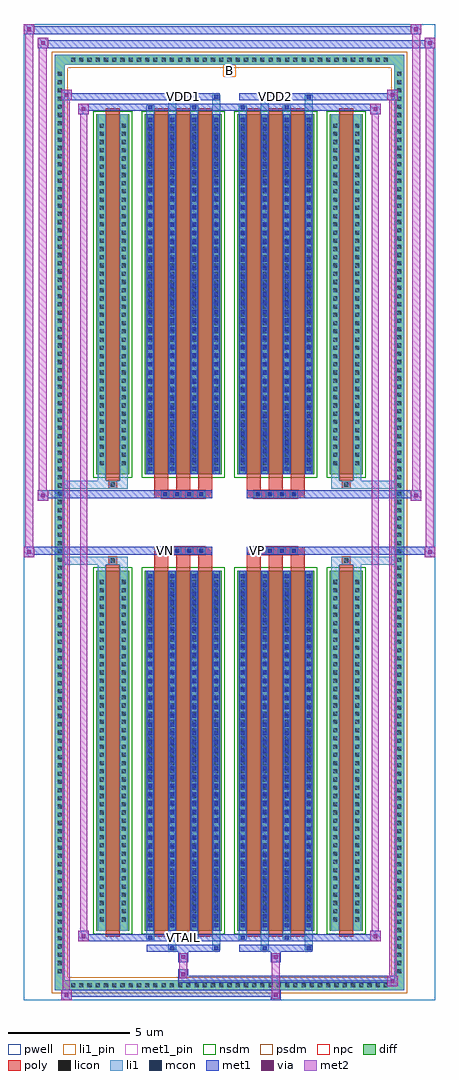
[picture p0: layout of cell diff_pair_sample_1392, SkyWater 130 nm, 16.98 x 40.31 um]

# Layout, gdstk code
import gdstk
lib = gdstk.Library(unit=1e-6, precision=5e-09)
def R(c, l, rs):  # rectangles x0, y0, x1, y1
    for r in rs: c.add(gdstk.rectangle(r[:2], r[2:], *l))
def A(c, l, x, y, w, h, nx, ny, dx, dy):  # array of equal rectangles
    R(c, l, [(x+i*dx, y+j*dy, x+i*dx+w, y+j*dy+h) for i in range(nx) for j in range(ny)])
def P(c, l, *ps):  # polygons
    for p in ps: c.add(gdstk.Polygon(p, *l))
pwell = (64, 44)
diff = (65, 20)
poly = (66, 20)
licon = (66, 44)
li1_pin = (67, 16)
li1 = (67, 20)
mcon = (67, 44)
met1_pin = (68, 16)
met1 = (68, 20)
via = (68, 44)
met2 = (69, 20)
nsdm = (93, 44)
psdm = (94, 20)
npc = (95, 20)

diff_pair_sample_1392 = lib.new_cell('diff_pair_sample_1392')
R(diff_pair_sample_1392, pwell, [(-8.49,-19.72,8.49,20.59), (-5.81,-17.91,-0.01,-0.805), (0.01,-17.91,5.81,-0.805), (-5.81,0.805,-0.01,17.91), (0.01,0.805,5.81,17.91)])
A(diff_pair_sample_1392, diff, -6.665, -19.32, 0.41, 0.41, 39, 2, 0.34, 38.23)
A(diff_pair_sample_1392, diff, -7.22, -18.735, 0.41, 0.41, 1, 110, 0, 0.34)
A(diff_pair_sample_1392, diff, 6.81, -18.735, 0.41, 0.41, 1, 110, 0, 0.34)
R(diff_pair_sample_1392, diff, [(-6.665,-19.32,6.665,-18.91), (-7.22,-18.735,-6.81,18.735), (6.81,-18.735,7.22,18.735), (-5.5,-16.865,-4.14,-1.985), (-3.5,-16.865,-0.32,-1.985), (0.32,-16.865,3.5,-1.985), (4.14,-16.865,5.5,-1.985), (-5.5,1.985,-4.14,16.865), (-3.5,1.985,-0.32,16.865), (0.32,1.985,3.5,16.865), (4.14,1.985,5.5,16.865), (-6.665,18.91,6.665,19.32)])
P(diff_pair_sample_1392, diff, [(7.22,19.32),(-7.22,19.32),(-7.22,-18.91),(-6.81,-18.91),(-6.81,18.91),(6.81,18.91),(6.81,-18.91),(-6.81,-18.91),(-7.22,-18.91),(-7.22,-19.32),(7.22,-19.32)])
A(diff_pair_sample_1392, poly, -3.11, -17.115, 0.58, 15.38, 3, 2, 0.91, 18.85)
A(diff_pair_sample_1392, poly, 0.71, -17.115, 0.58, 15.38, 3, 2, 0.91, 18.85)
A(diff_pair_sample_1392, poly, -3.11, -1.735, 0.58, 0.4, 3, 2, 0.91, 3.07)
A(diff_pair_sample_1392, poly, 0.71, -1.735, 0.58, 0.4, 3, 2, 0.91, 3.07)
A(diff_pair_sample_1392, poly, -2.825, -1.335, 0.33, 0.33, 4, 2, 0.5, 2.34)
A(diff_pair_sample_1392, poly, 0.995, -1.335, 0.33, 0.33, 4, 2, 0.5, 2.34)
R(diff_pair_sample_1392, poly, [(-5.11,-17.115,-4.53,-1.735), (4.53,-17.115,5.11,-1.735), (-4.985,-1.735,-4.655,-1.405), (-4.985,-1.735,-4.655,-1.405), (4.655,-1.735,4.985,-1.405), (4.655,-1.735,4.985,-1.405), (-3.11,-1.335,-0.71,-1.005), (0.71,-1.335,3.11,-1.005), (-3.11,1.005,-0.71,1.335), (0.71,1.005,3.11,1.335), (-4.985,1.405,-4.655,1.735), (-4.985,1.405,-4.655,1.735), (4.655,1.405,4.985,1.735), (4.655,1.405,4.985,1.735), (-5.11,1.735,-4.53,17.115), (4.53,1.735,5.11,17.115)])
A(diff_pair_sample_1392, licon, -6.545, -19.2, 0.17, 0.17, 39, 2, 0.34, 38.23)
A(diff_pair_sample_1392, licon, -7.1, -18.615, 0.17, 0.17, 1, 110, 0, 0.34)
A(diff_pair_sample_1392, licon, 6.93, -18.615, 0.17, 0.17, 1, 110, 0, 0.34)
A(diff_pair_sample_1392, licon, -5.36, -16.48, 0.17, 0.17, 1, 42, 0, 0.34)
A(diff_pair_sample_1392, licon, -4.45, -16.48, 0.17, 0.17, 1, 42, 0, 0.34)
A(diff_pair_sample_1392, licon, -3.36, -16.48, 0.17, 0.17, 4, 42, 0.91, 0.34)
A(diff_pair_sample_1392, licon, 0.46, -16.48, 0.17, 0.17, 4, 42, 0.91, 0.34)
A(diff_pair_sample_1392, licon, 4.28, -16.48, 0.17, 0.17, 1, 42, 0, 0.34)
A(diff_pair_sample_1392, licon, 5.19, -16.48, 0.17, 0.17, 1, 42, 0, 0.34)
A(diff_pair_sample_1392, licon, -2.745, -1.255, 0.17, 0.17, 4, 2, 0.5, 2.34)
A(diff_pair_sample_1392, licon, 1.075, -1.255, 0.17, 0.17, 4, 2, 0.5, 2.34)
A(diff_pair_sample_1392, licon, -5.36, 2.37, 0.17, 0.17, 1, 42, 0, 0.34)
A(diff_pair_sample_1392, licon, -4.45, 2.37, 0.17, 0.17, 1, 42, 0, 0.34)
A(diff_pair_sample_1392, licon, -3.36, 2.37, 0.17, 0.17, 4, 42, 0.91, 0.34)
A(diff_pair_sample_1392, licon, 0.46, 2.37, 0.17, 0.17, 4, 42, 0.91, 0.34)
A(diff_pair_sample_1392, licon, 4.28, 2.37, 0.17, 0.17, 1, 42, 0, 0.34)
A(diff_pair_sample_1392, licon, 5.19, 2.37, 0.17, 0.17, 1, 42, 0, 0.34)
R(diff_pair_sample_1392, licon, [(-4.905,-1.655,-4.735,-1.485), (4.735,-1.655,4.905,-1.485), (-4.905,1.485,-4.735,1.655), (4.735,1.485,4.905,1.655)])
R(diff_pair_sample_1392, li1_pin, [(-0.25,18.41,0.25,18.91)])
A(diff_pair_sample_1392, li1, -6.625, -19.28, 0.33, 0.33, 39, 2, 0.34, 38.23)
A(diff_pair_sample_1392, li1, -7.18, -18.695, 0.33, 0.33, 1, 110, 0, 0.34)
A(diff_pair_sample_1392, li1, 6.85, -18.695, 0.33, 0.33, 1, 110, 0, 0.34)
A(diff_pair_sample_1392, li1, -3.44, -16.865, 0.33, 14.88, 4, 2, 0.91, 18.85)
A(diff_pair_sample_1392, li1, 0.38, -16.865, 0.33, 14.88, 4, 2, 0.91, 18.85)
A(diff_pair_sample_1392, li1, -3.36, -16.71, 0.17, 0.17, 4, 41, 0.91, 0.36)
A(diff_pair_sample_1392, li1, -3.36, -16.71, 0.17, 14.57, 4, 2, 0.91, 18.85)
A(diff_pair_sample_1392, li1, 0.46, -16.71, 0.17, 0.17, 4, 41, 0.91, 0.36)
A(diff_pair_sample_1392, li1, 0.46, -16.71, 0.17, 14.57, 4, 2, 0.91, 18.85)
A(diff_pair_sample_1392, li1, -5.44, -16.56, 0.33, 0.33, 1, 42, 0, 0.34)
A(diff_pair_sample_1392, li1, -4.53, -16.56, 0.33, 0.33, 1, 42, 0, 0.34)
A(diff_pair_sample_1392, li1, -3.44, -16.56, 0.33, 0.33, 4, 42, 0.91, 0.34)
A(diff_pair_sample_1392, li1, 0.38, -16.56, 0.33, 0.33, 4, 42, 0.91, 0.34)
A(diff_pair_sample_1392, li1, 4.2, -16.56, 0.33, 0.33, 1, 42, 0, 0.34)
A(diff_pair_sample_1392, li1, 5.11, -16.56, 0.33, 0.33, 1, 42, 0, 0.34)
A(diff_pair_sample_1392, li1, -2.825, -1.335, 0.33, 0.33, 4, 2, 0.5, 2.34)
A(diff_pair_sample_1392, li1, 0.995, -1.335, 0.33, 0.33, 4, 2, 0.5, 2.34)
A(diff_pair_sample_1392, li1, -3.36, 2.14, 0.17, 0.17, 4, 41, 0.91, 0.36)
A(diff_pair_sample_1392, li1, 0.46, 2.14, 0.17, 0.17, 4, 41, 0.91, 0.36)
A(diff_pair_sample_1392, li1, -5.44, 2.29, 0.33, 0.33, 1, 42, 0, 0.34)
A(diff_pair_sample_1392, li1, -4.53, 2.29, 0.33, 0.33, 1, 42, 0, 0.34)
A(diff_pair_sample_1392, li1, -3.44, 2.29, 0.33, 0.33, 4, 42, 0.91, 0.34)
A(diff_pair_sample_1392, li1, 0.38, 2.29, 0.33, 0.33, 4, 42, 0.91, 0.34)
A(diff_pair_sample_1392, li1, 4.2, 2.29, 0.33, 0.33, 1, 42, 0, 0.34)
A(diff_pair_sample_1392, li1, 5.11, 2.29, 0.33, 0.33, 1, 42, 0, 0.34)
R(diff_pair_sample_1392, li1, [(-7.22,-19.32,-6.81,-18.91), (-7.22,-19.32,-6.81,-18.91), (-6.81,-19.32,6.81,-18.91), (6.81,-19.32,7.22,-18.91), (6.81,-19.32,7.22,-18.91), (-7.22,-18.91,-6.81,18.91), (6.81,-18.91,7.22,18.91), (-2.53,-17.67,-2.2,-16.865), (-2.45,-17.67,-2.28,-17.5), (-0.71,-17.67,-0.38,-16.865), (-0.63,-17.67,-0.46,-17.5), (1.29,-17.67,1.62,-16.865), (1.37,-17.67,1.54,-17.5), (3.11,-17.67,3.44,-16.865), (3.19,-17.67,3.36,-17.5), (-3.44,-17.24,-3.11,-16.865), (-3.36,-17.24,-3.19,-17.07), (-1.62,-17.24,-1.29,-16.865), (-1.54,-17.24,-1.37,-17.07), (0.38,-17.24,0.71,-16.865), (0.46,-17.24,0.63,-17.07), (2.2,-17.24,2.53,-16.865), (2.28,-17.24,2.45,-17.07), (-5.44,-16.865,-5.11,-1.985), (-4.53,-16.865,-4.2,-1.985), (4.2,-16.865,4.53,-1.985), (5.11,-16.865,5.44,-1.985), (-5.44,-1.985,-5.11,-1.405), (-4.53,-1.985,-4.2,-1.405), (4.2,-1.985,4.53,-1.405), (5.11,-1.985,5.44,-1.405), (-7.22,-1.735,-4.985,-1.405), (-5.44,-1.735,-4.985,-1.405), (-4.985,-1.735,-4.655,-1.405), (-4.655,-1.735,-4.2,-1.405), (4.2,-1.735,4.655,-1.405), (4.655,-1.735,4.985,-1.405), (4.655,-1.735,7.22,-1.405), (4.985,-1.735,5.44,-1.405), (-7.22,1.405,-4.985,1.735), (-5.44,1.405,-4.985,1.735), (-5.44,1.405,-5.11,1.985), (-4.985,1.405,-4.655,1.735), (-4.655,1.405,-4.2,1.735), (-4.53,1.405,-4.2,1.985), (4.2,1.405,4.655,1.735), (4.2,1.405,4.53,1.985), (4.655,1.405,4.985,1.735), (4.655,1.405,7.22,1.735), (4.985,1.405,5.44,1.735), (5.11,1.405,5.44,1.985), (-5.44,1.985,-5.11,16.865), (-4.53,1.985,-4.2,16.865), (4.2,1.985,4.53,16.865), (5.11,1.985,5.44,16.865), (-3.44,16.865,-3.11,17.24), (-2.53,16.865,-2.2,17.67), (-1.62,16.865,-1.29,17.24), (-0.71,16.865,-0.38,17.67), (0.38,16.865,0.71,17.24), (1.29,16.865,1.62,17.67), (2.2,16.865,2.53,17.24), (3.11,16.865,3.44,17.67), (-3.36,17.07,-3.19,17.24), (-1.54,17.07,-1.37,17.24), (0.46,17.07,0.63,17.24), (2.28,17.07,2.45,17.24), (-2.45,17.5,-2.28,17.67), (-0.63,17.5,-0.46,17.67), (1.37,17.5,1.54,17.67), (3.19,17.5,3.36,17.67), (-7.22,18.91,-6.81,19.32), (-7.22,18.91,-6.81,19.32), (-6.81,18.91,6.81,19.32), (6.81,18.91,7.22,19.32), (6.81,18.91,7.22,19.32)])
A(diff_pair_sample_1392, mcon, -3.36, -16.71, 0.17, 0.17, 4, 41, 0.91, 0.36)
A(diff_pair_sample_1392, mcon, 0.46, -16.71, 0.17, 0.17, 4, 41, 0.91, 0.36)
A(diff_pair_sample_1392, mcon, -2.745, -1.255, 0.17, 0.17, 4, 2, 0.5, 2.34)
A(diff_pair_sample_1392, mcon, 1.075, -1.255, 0.17, 0.17, 4, 2, 0.5, 2.34)
A(diff_pair_sample_1392, mcon, -3.36, 2.14, 0.17, 0.17, 4, 41, 0.91, 0.36)
A(diff_pair_sample_1392, mcon, 0.46, 2.14, 0.17, 0.17, 4, 41, 0.91, 0.36)
R(diff_pair_sample_1392, mcon, [(-2.45,-17.67,-2.28,-17.5), (-0.63,-17.67,-0.46,-17.5), (1.37,-17.67,1.54,-17.5), (3.19,-17.67,3.36,-17.5), (-3.36,-17.24,-3.19,-17.07), (-1.54,-17.24,-1.37,-17.07), (0.46,-17.24,0.63,-17.07), (2.28,-17.24,2.45,-17.07), (-3.36,17.07,-3.19,17.24), (-1.54,17.07,-1.37,17.24), (0.46,17.07,0.63,17.24), (2.28,17.07,2.45,17.24), (-2.45,17.5,-2.28,17.67), (-0.63,17.5,-0.46,17.67), (1.37,17.5,1.54,17.67), (3.19,17.5,3.36,17.67)])
R(diff_pair_sample_1392, met1_pin, [(-2.045,-17.28,-1.775,-17.01), (-2.795,-1.295,-2.525,-1.025), (1.025,-1.295,1.295,-1.025), (-2.045,17.46,-1.775,17.73), (1.775,17.46,2.045,17.73)])
A(diff_pair_sample_1392, met1, -3.42, -16.865, 0.29, 14.88, 4, 2, 0.91, 18.85)
A(diff_pair_sample_1392, met1, 0.4, -16.865, 0.29, 14.88, 4, 2, 0.91, 18.85)
A(diff_pair_sample_1392, met1, -3.42, -16.77, 0.29, 0.29, 4, 41, 0.91, 0.36)
A(diff_pair_sample_1392, met1, 0.4, -16.77, 0.29, 0.29, 4, 41, 0.91, 0.36)
A(diff_pair_sample_1392, met1, -2.805, -1.315, 0.29, 0.29, 4, 2, 0.5, 2.34)
A(diff_pair_sample_1392, met1, 1.015, -1.315, 0.29, 0.29, 4, 2, 0.5, 2.34)
A(diff_pair_sample_1392, met1, -3.42, 2.08, 0.29, 0.29, 4, 41, 0.91, 0.36)
A(diff_pair_sample_1392, met1, 0.4, 2.08, 0.29, 0.29, 4, 41, 0.91, 0.36)
R(diff_pair_sample_1392, met1, [(-6.95,-19.72,-6.52,-19.29), (1.695,-19.72,2.125,-19.29), (-6.95,-19.58,2.125,-19.29), (6.52,-19.15,6.95,-18.72), (-2.125,-19.01,6.95,-18.72), (-2.125,-18.87,-1.695,-18.44), (-2.125,-18.16,-1.695,-17.73), (1.695,-18.16,2.125,-17.73), (-3.42,-17.73,-0.4,-17.44), (-2.51,-17.73,-2.22,-17.44), (-0.69,-17.73,-0.4,-17.44), (0.4,-17.73,3.42,-17.44), (1.31,-17.73,1.6,-17.44), (3.13,-17.73,3.42,-17.44), (-6.24,-17.3,-5.81,-16.87), (-6.24,-17.3,-3.42,-17.01), (-3.42,-17.3,-3.13,-17.01), (-3.42,-17.3,-0.4,-17.01), (-1.6,-17.3,-1.31,-17.01), (-0.4,-17.3,0.4,-17.01), (0.4,-17.3,0.69,-17.01), (0.4,-17.3,3.42,-17.01), (2.22,-17.3,2.51,-17.01), (3.42,-17.3,6.24,-17.01), (5.81,-17.3,6.24,-16.87), (-8.49,-1.435,-8.06,-1.005), (8.06,-1.435,8.49,-1.005), (-8.49,-1.335,-0.71,-1.005), (-3.11,-1.335,-0.71,-1.005), (0.71,-1.335,3.11,-1.005), (0.71,-1.335,8.49,-1.005), (-7.92,0.905,-7.49,1.335), (7.49,0.905,7.92,1.335), (-7.92,1.005,-3.11,1.335), (-3.11,1.005,-0.71,1.335), (0.71,1.005,3.11,1.335), (3.11,1.005,7.92,1.335), (-6.24,16.87,-5.81,17.3), (5.81,16.87,6.24,17.3), (-6.24,17.01,-3.42,17.3), (-3.42,17.01,-3.13,17.3), (-3.42,17.01,-0.4,17.3), (-1.6,17.01,-1.31,17.3), (-0.4,17.01,0.4,17.3), (0.4,17.01,0.69,17.3), (0.4,17.01,3.42,17.3), (2.22,17.01,2.51,17.3), (3.42,17.01,6.24,17.3), (-6.95,17.44,-6.52,17.87), (-6.95,17.44,-3.42,17.73), (-3.42,17.44,-0.4,17.73), (-2.51,17.44,-2.22,17.73), (-0.69,17.44,-0.4,17.73), (0.4,17.44,3.42,17.73), (1.31,17.44,1.6,17.73), (3.13,17.44,3.42,17.73), (3.42,17.44,6.95,17.73), (6.52,17.44,6.95,17.87), (-7.92,19.59,-7.49,20.02), (-7.92,19.59,-5.81,19.92), (-5.81,19.59,5.81,19.92), (5.81,19.59,8.49,19.92), (8.06,19.59,8.49,20.02), (-8.49,20.16,-8.06,20.59), (-8.49,20.16,-5.81,20.49), (-5.81,20.16,5.81,20.49), (5.81,20.16,7.92,20.49), (7.49,20.16,7.92,20.59)])
R(diff_pair_sample_1392, via, [(-6.81,-19.58,-6.66,-19.43), (1.835,-19.58,1.985,-19.43), (6.66,-19.01,6.81,-18.86), (-1.985,-18.73,-1.835,-18.58), (-1.985,-18.02,-1.835,-17.87), (1.835,-18.02,1.985,-17.87), (-6.1,-17.16,-5.95,-17.01), (5.95,-17.16,6.1,-17.01), (-8.35,-1.295,-8.2,-1.145), (8.2,-1.295,8.35,-1.145), (-7.78,1.045,-7.63,1.195), (7.63,1.045,7.78,1.195), (-6.1,17.01,-5.95,17.16), (5.95,17.01,6.1,17.16), (-6.81,17.58,-6.66,17.73), (6.66,17.58,6.81,17.73), (-7.78,19.73,-7.63,19.88), (8.2,19.73,8.35,19.88), (-8.35,20.3,-8.2,20.45), (7.63,20.3,7.78,20.45)])
R(diff_pair_sample_1392, met2, [(-6.95,-19.72,-6.52,-19.29), (-6.88,-19.72,-6.59,17.87), (-6.59,-19.72,-6.52,-19.29), (-6.9,-19.67,-6.57,-19.34), (1.745,-19.67,2.075,-19.34), (1.745,-19.34,2.075,-18.11), (6.52,-19.15,6.95,-18.72), (6.59,-19.15,6.88,17.87), (6.88,-19.15,6.95,-18.72), (6.57,-19.1,6.9,-18.77), (-2.075,-18.82,-1.745,-18.49), (-2.075,-18.49,-1.745,-18.11), (-2.075,-18.11,-1.745,-17.78), (1.745,-18.11,2.075,-17.78), (-6.24,-17.3,-5.81,-16.87), (-6.17,-17.3,-5.88,17.3), (-5.88,-17.3,-5.81,-16.87), (5.81,-17.3,6.24,-16.87), (5.88,-17.3,6.17,17.3), (6.17,-17.3,6.24,-16.87), (-6.19,-17.25,-5.86,-16.92), (5.86,-17.25,6.19,-16.92), (-8.49,-1.435,-8.06,-1.005), (-8.44,-1.435,-8.11,20.59), (-8.11,-1.435,-8.06,-1.005), (8.06,-1.435,8.49,-1.005), (8.11,-1.435,8.44,20.02), (8.44,-1.435,8.49,-1.005), (-8.44,-1.385,-8.11,-1.055), (8.11,-1.385,8.44,-1.055), (-7.92,0.905,-7.49,1.335), (-7.87,0.905,-7.54,20.02), (-7.54,0.905,-7.49,1.335), (7.49,0.905,7.92,1.335), (7.54,0.905,7.87,20.59), (7.87,0.905,7.92,1.335), (-7.87,0.955,-7.54,1.285), (7.54,0.955,7.87,1.285), (-6.24,16.87,-5.81,17.3), (-5.88,16.87,-5.81,17.3), (5.81,16.87,6.24,17.3), (6.17,16.87,6.24,17.3), (-6.19,16.92,-5.86,17.25), (5.86,16.92,6.19,17.25), (-6.95,17.44,-6.52,17.87), (-6.59,17.44,-6.52,17.87), (6.52,17.44,6.95,17.87), (6.88,17.44,6.95,17.87), (-6.9,17.49,-6.57,17.82), (6.57,17.49,6.9,17.82), (-7.92,19.59,-7.49,20.02), (-7.54,19.59,-7.49,20.02), (8.06,19.59,8.49,20.02), (8.44,19.59,8.49,20.02), (-7.87,19.64,-7.54,19.97), (8.11,19.64,8.44,19.97), (-8.49,20.16,-8.06,20.59), (-8.11,20.16,-8.06,20.59), (7.49,20.16,7.92,20.59), (7.87,20.16,7.92,20.59), (-8.44,20.21,-8.11,20.54), (7.54,20.21,7.87,20.54)])
R(diff_pair_sample_1392, nsdm, [(-5.63,-16.995,-4.01,-1.855), (-3.63,-16.995,-0.19,-1.855), (0.19,-16.995,3.63,-1.855), (4.01,-16.995,5.63,-1.855), (-5.63,1.855,-4.01,16.995), (-3.63,1.855,-0.19,16.995), (0.19,1.855,3.63,16.995), (4.01,1.855,5.63,16.995)])
P(diff_pair_sample_1392, psdm, [(7.35,19.45),(-7.35,19.45),(-7.35,-18.78),(-6.68,-18.78),(-6.68,18.78),(6.68,18.78),(6.68,-18.78),(-6.68,-18.78),(-7.35,-18.78),(-7.35,-19.45),(7.35,-19.45)])
A(diff_pair_sample_1392, npc, -2.845, -1.355, 0.37, 0.37, 4, 2, 0.5, 2.34)
A(diff_pair_sample_1392, npc, 0.975, -1.355, 0.37, 0.37, 4, 2, 0.5, 2.34)
R(diff_pair_sample_1392, npc, [(-5.005,-1.755,-4.635,-1.385), (4.635,-1.755,5.005,-1.385), (-2.845,-1.355,-1.975,-0.985), (-2.845,-1.355,-1.975,-0.985), (-2.345,-1.355,-1.475,-0.985), (-2.345,-1.355,-1.475,-0.985), (-1.845,-1.355,-0.975,-0.985), (-1.845,-1.355,-0.975,-0.985), (0.975,-1.355,1.845,-0.985), (0.975,-1.355,1.845,-0.985), (1.475,-1.355,2.345,-0.985), (1.475,-1.355,2.345,-0.985), (1.975,-1.355,2.845,-0.985), (1.975,-1.355,2.845,-0.985), (-2.845,0.985,-1.975,1.355), (-2.845,0.985,-1.975,1.355), (-2.345,0.985,-1.475,1.355), (-2.345,0.985,-1.475,1.355), (-1.845,0.985,-0.975,1.355), (-1.845,0.985,-0.975,1.355), (0.975,0.985,1.845,1.355), (0.975,0.985,1.845,1.355), (1.475,0.985,2.345,1.355), (1.475,0.985,2.345,1.355), (1.975,0.985,2.845,1.355), (1.975,0.985,2.845,1.355), (-5.005,1.385,-4.635,1.755), (4.635,1.385,5.005,1.755)])
diff_pair_sample_1392.add(gdstk.Label('VTAIL', (-1.91,-17.145), layer=68, texttype=5))
diff_pair_sample_1392.add(gdstk.Label('VN', (-2.66,-1.16), layer=68, texttype=5))
diff_pair_sample_1392.add(gdstk.Label('VP', (1.16,-1.16), layer=68, texttype=5))
diff_pair_sample_1392.add(gdstk.Label('B', (0,18.66), layer=67, texttype=5))
diff_pair_sample_1392.add(gdstk.Label('VDD2', (1.91,17.595), layer=68, texttype=5))
diff_pair_sample_1392.add(gdstk.Label('VDD1', (-1.91,17.595), layer=68, texttype=5))

lib.write_gds('diff_pair_sample_1392.gds')
